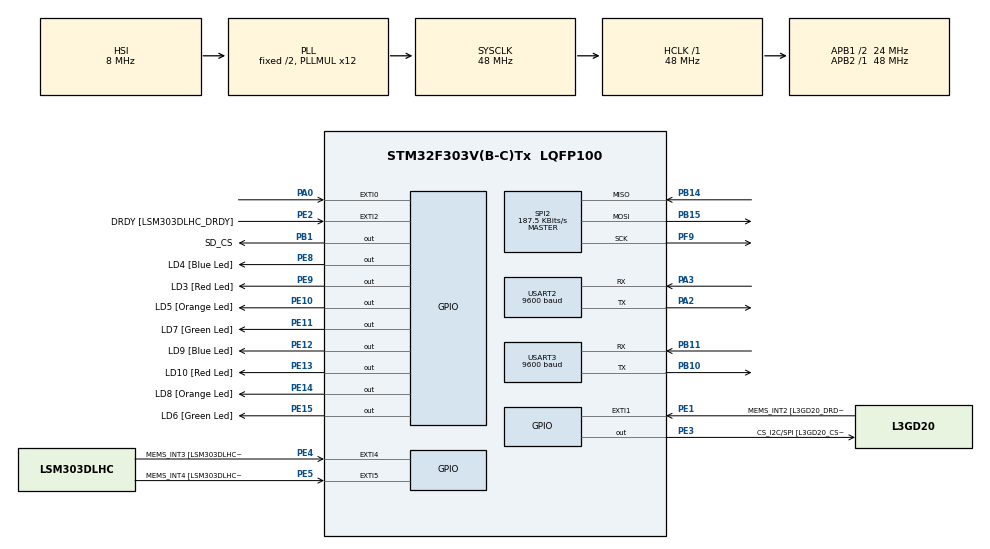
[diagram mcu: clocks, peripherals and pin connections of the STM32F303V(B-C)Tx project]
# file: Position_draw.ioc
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Mcu.Family=STM32F3
Mcu.Name=STM32F303V(B-C)Tx
Mcu.Package=LQFP100
NVIC.EXTI0_IRQn=true\:5\:0\:true\:false\:true\:true\:true\:true
NVIC.PriorityGroup=NVIC_PRIORITYGROUP_4
NVIC.TIM6_DAC_IRQn=true\:15\:0\:false\:false\:true\:false\:true\:true
NVIC.TimeBase=TIM6_DAC_IRQn
NVIC.TimeBaseIP=TIM6
NVIC.USART2_IRQn=true\:5\:0\:true\:false\:true\:true\:true\:true
NVIC.USART3_IRQn=true\:5\:0\:true\:false\:true\:true\:true\:true
PA0.GPIO_PuPd=GPIO_PULLDOWN
PA0.Signal=GPXTI0
PA11.GPIO_Label=DM
PA11.Signal=USB_DM
PA12.GPIO_Label=DP
PA12.Signal=USB_DP
PA13.GPIO_Label=SWDIO
PA13.Signal=SYS_JTMS-SWDIO
PA14.GPIO_Label=SWCLK
PA14.Signal=SYS_JTCK-SWCLK
PA2.Mode=Asynchronous
PA2.Signal=USART2_TX
PA3.Mode=Asynchronous
PA3.Signal=USART2_RX
PA5.GPIO_Label=SPI1_SCK [L3GD20_SCL/SPC]
PA5.GPIO_Mode=GPIO_MODE_AF_PP
PA5.GPIO_PuPd=GPIO_NOPULL
PA5.GPIO_Speed=GPIO_SPEED_FREQ_LOW
PA5.Signal=SPI1_SCK
PA6.GPIO_Label=SPI1_MISO [L3GD20_SA0/SDO]
PA6.GPIO_Mode=GPIO_MODE_AF_PP
PA6.GPIO_PuPd=GPIO_NOPULL
PA6.GPIO_Speed=GPIO_SPEED_FREQ_LOW
PA6.Signal=SPI1_MISO
PA7.GPIO_Label=SPI1_MISO [L3GD20_SDA/SDI/SDO]
PA7.GPIO_Mode=GPIO_MODE_AF_PP
PA7.GPIO_PuPd=GPIO_NOPULL
PA7.GPIO_Speed=GPIO_SPEED_FREQ_LOW
PA7.Signal=SPI1_MOSI
PB1.GPIO_Label=SD_CS
PB1.Signal=GPIO_Output
PB10.GPIO_PuPd=GPIO_PULLDOWN
PB10.Mode=Asynchronous
PB10.Signal=USART3_TX
PB11.GPIO_PuPd=GPIO_PULLDOWN
PB11.Mode=Asynchronous
PB11.Signal=USART3_RX
PB14.Mode=Full_Duplex_Master
PB14.Signal=SPI2_MISO
PB15.Mode=Full_Duplex_Master
PB15.Signal=SPI2_MOSI
PB3.GPIO_Label=SWO
PB3.Signal=SYS_JTDO-TRACESWO
PB6.GPIO_FM6=__NULL
PB6.GPIO_Label=I2C1_SCL [LSM303DLHC_SCL]
PB6.GPIO_Mode=GPIO_MODE_AF_OD
PB6.GPIO_PuPd=GPIO_NOPULL
PB6.GPIO_Speed=GPIO_SPEED_FREQ_LOW
PB6.Signal=I2C1_SCL
PB7.GPIO_FM7=__NULL
PB7.GPIO_Label=I2C1_SDA [LSM303DLHC_SDA]
PB7.GPIO_Mode=GPIO_MODE_AF_OD
PB7.GPIO_PuPd=GPIO_NOPULL
PB7.GPIO_Speed=GPIO_SPEED_FREQ_LOW
PB7.Signal=I2C1_SDA
PC14-OSC32_IN.GPIO_Label=OSC32_IN
PC14-OSC32_IN.Signal=RCC_OSC32_IN
PC15-OSC32_OUT.GPIO_Label=OSC32_OUT
PC15-OSC32_OUT.Signal=RCC_OSC32_OUT
PE1.GPIO_Label=MEMS_INT2 [L3GD20_DRDY/INT2]
PE1.GPIO_ModeDefaultEXTI=GPIO_MODE_EVT_RISING
PE1.GPIO_PuPd=GPIO_NOPULL
PE1.Signal=GPXTI1
PE10.GPIO_Label=LD5 [Orange Led]
PE10.GPIO_ModeDefaultOutputPP=GPIO_MODE_OUTPUT_PP
PE10.GPIO_PuPd=GPIO_NOPULL
PE10.GPIO_Speed=GPIO_SPEED_FREQ_LOW
PE10.Signal=GPIO_Output
PE11.GPIO_Label=LD7 [Green Led]
PE11.GPIO_ModeDefaultOutputPP=GPIO_MODE_OUTPUT_PP
PE11.GPIO_PuPd=GPIO_NOPULL
PE11.GPIO_Speed=GPIO_SPEED_FREQ_LOW
PE11.Signal=GPIO_Output
PE12.GPIO_Label=LD9 [Blue Led]
PE12.GPIO_ModeDefaultOutputPP=GPIO_MODE_OUTPUT_PP
PE12.GPIO_PuPd=GPIO_NOPULL
PE12.GPIO_Speed=GPIO_SPEED_FREQ_LOW
PE12.Signal=GPIO_Output
PE13.GPIO_Label=LD10 [Red Led]
PE13.GPIO_ModeDefaultOutputPP=GPIO_MODE_OUTPUT_PP
PE13.GPIO_PuPd=GPIO_NOPULL
PE13.GPIO_Speed=GPIO_SPEED_FREQ_LOW
PE13.Signal=GPIO_Output
PE14.GPIO_Label=LD8 [Orange Led]
PE14.GPIO_ModeDefaultOutputPP=GPIO_MODE_OUTPUT_PP
PE14.GPIO_PuPd=GPIO_NOPULL
PE14.GPIO_Speed=GPIO_SPEED_FREQ_LOW
PE14.Signal=GPIO_Output
PE15.GPIO_Label=LD6 [Green Led]
PE15.GPIO_ModeDefaultOutputPP=GPIO_MODE_OUTPUT_PP
PE15.GPIO_PuPd=GPIO_NOPULL
PE15.GPIO_Speed=GPIO_SPEED_FREQ_LOW
PE15.Signal=GPIO_Output
PE2.GPIO_Label=DRDY [LSM303DLHC_DRDY]
PE2.GPIO_ModeDefaultEXTI=GPIO_MODE_EVT_RISING
PE2.GPIO_PuPd=GPIO_NOPULL
PE2.Signal=GPXTI2
PE3.GPIO_Label=CS_I2C/SPI [L3GD20_CS_I2C/SPI]
PE3.GPIO_ModeDefaultOutputPP=GPIO_MODE_OUTPUT_PP
PE3.GPIO_PuPd=GPIO_NOPULL
PE3.GPIO_Speed=GPIO_SPEED_FREQ_LOW
PE3.Signal=GPIO_Output
PE4.GPIO_Label=MEMS_INT3 [LSM303DLHC_INT1]
PE4.GPIO_ModeDefaultEXTI=GPIO_MODE_EVT_RISING
PE4.GPIO_PuPd=GPIO_NOPULL
PE4.Signal=GPXTI4
PE5.GPIO_Label=MEMS_INT4 [LSM303DLHC_INT2]
PE5.GPIO_ModeDefaultEXTI=GPIO_MODE_EVT_RISING
PE5.GPIO_PuPd=GPIO_NOPULL
PE5.Signal=GPXTI5
PE8.GPIO_Label=LD4 [Blue Led]
PE8.GPIO_ModeDefaultOutputPP=GPIO_MODE_OUTPUT_PP
PE8.GPIO_PuPd=GPIO_NOPULL
PE8.GPIO_Speed=GPIO_SPEED_FREQ_LOW
PE8.Signal=GPIO_Output
PE9.GPIO_Label=LD3 [Red Led]
PE9.GPIO_ModeDefaultOutputPP=GPIO_MODE_OUTPUT_PP
PE9.GPIO_PuPd=GPIO_NOPULL
PE9.GPIO_Speed=GPIO_SPEED_FREQ_LOW
PE9.Signal=GPIO_Output
PF0-OSC_IN.GPIO_Label=OSC_IN
PF0-OSC_IN.Signal=RCC_OSC_IN
PF1-OSC_OUT.GPIO_Label=OSC_OUT
PF1-OSC_OUT.Signal=RCC_OSC_OUT
PF9.Mode=Full_Duplex_Master
PF9.Signal=SPI2_SCK
ProjectManager.HeapSize=0x200
ProjectManager.StackSize=0x400
ProjectManager.TargetToolchain=STM32CubeIDE
RCC.AHBFreq_Value=48000000
RCC.APB1CLKDivider=RCC_HCLK_DIV2
RCC.APB1Freq_Value=24000000
RCC.APB1TimFreq_Value=48000000
RCC.APB2Freq_Value=48000000
RCC.APB2TimFreq_Value=48000000
RCC.CortexFreq_Value=48000000
RCC.HCLKFreq_Value=48000000
RCC.HSE_VALUE=8000000
RCC.HSI_VALUE=8000000
RCC.LSE_VALUE=32768
RCC.PLLMUL=RCC_PLL_MUL12
RCC.SYSCLKFreq_VALUE=48000000
RCC.SYSCLKSourceVirtual=RCC_SYSCLKSOURCE_PLLCLK
RCC.USBFreq_Value=48000000
SPI2.BaudRatePrescaler=SPI_BAUDRATEPRESCALER_128
SPI2.CalculateBaudRate=187.5 KBits/s
SPI2.DataSize=SPI_DATASIZE_8BIT
SPI2.Direction=SPI_DIRECTION_2LINES
SPI2.Mode=SPI_MODE_MASTER
SPI2.VirtualType=VM_MASTER
USART2.BaudRate=9600
USART2.VirtualMode-Asynchronous=VM_ASYNC
USART3.BaudRate=9600
USART3.VirtualMode-Asynchronous=VM_ASYNC
VP_FATFS_VS_Generic.Mode=User_defined
VP_SYS_VS_tim6.Mode=TIM6
board=STM32F3DISCOVERY

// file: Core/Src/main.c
/* USER CODE BEGIN Header */
/**
  ******************************************************************************
  * @file           : main.c
  * @brief          : Main program body
  ******************************************************************************
  * @attention
  *
  * Copyright (c) 2024 STMicroelectronics.
  * All rights reserved.
  *
  * This software is licensed under terms that can be found in the LICENSE file
  * in the root directory of this software component.
  * If no LICENSE file comes with this software, it is provided AS-IS.
  *
  ******************************************************************************
  */
/* USER CODE END Header */
#include "main.h"
#include "fatfs.h"

/* USER CODE BEGIN PD */
//#define USE_SEGGER

//#define UART23_bridge

#ifdef USE_SEGGER
	#define DWT_CTRL		(*(volatile uint32_t *) 0xE0001000)
#endif
/* USER CODE END PD */

SPI_HandleTypeDef hspi2;

UART_HandleTypeDef huart2;
UART_HandleTypeDef huart3;

/* USER CODE BEGIN PV */
TaskHandle_t SD_card_task;
TaskHandle_t GPS_MSG_check_task;
TaskHandle_t USER_print_task;

//Buffer used to gather GPS data
uint8_t UART_2_buffer [20];

//Buffer used to print USER data on UART3
uint8_t USER_print_buffer [10];

uint8_t rec_buff[500];

volatile GPS_Position_Data_t position;

xSemaphoreHandle xUART_3;
xSemaphoreHandle xUART_2;

xSemaphoreHandle xSD_data;

char send_text [200];
void vApplicationStackOverflowHook( TaskHandle_t xTask, char * pcTaskName );

/* USER CODE END PV */

void SystemClock_Config(void);
static void MX_GPIO_Init(void);
static void MX_SPI2_Init(void);
static void MX_USART2_UART_Init(void);
static void MX_USART3_UART_Init(void);
/* USER CODE BEGIN PFP */
void SD_card_handler (void *pvParameters);
void GPS_MSG_check_handler (void *pvParameters);
void USER_print_handler(void * pvParameters);

/* USER CODE END PFP */

/* USER CODE BEGIN 0 */
void myprintf(const char *fmt, ...) {
  static char buffer[500];
  va_list args;
  va_start(args, fmt);
  vsnprintf(buffer, sizeof(buffer), fmt, args);
  va_end(args);

  int len = strlen(buffer);
  HAL_UART_Transmit(&huart3, (uint8_t*)buffer, len, -1);

  //while UART3 TC not set (transfer not completed)
  uint32_t* wsk = (uint32_t*)0x4000481cUL;
  while(!(*wsk & (1<<6)));

}
/* USER CODE END 0 */

int main(void)
{
  /* USER CODE BEGIN 1 */
	BaseType_t Status;
  /* USER CODE END 1 */

  /* MCU Configuration--------------------------------------------------------*/

  /* Reset of all peripherals, Initializes the Flash interface and the Systick. */
  HAL_Init();

  /* USER CODE BEGIN Init */
  Status = xTaskCreate(SD_card_handler , "SD_CARD_task" , 600, "SD_card_proc", 4, &SD_card_task);
  configASSERT(Status == pdPASS);

  Status = xTaskCreate(GPS_MSG_check_handler , "GPS_MSG_check_task" , 500, "GPS MSG checking", 1, &GPS_MSG_check_task);
  configASSERT(Status == pdPASS);

  Status = xTaskCreate(USER_print_handler , "USER print task" , 500, "USER printing", 1, &USER_print_task);
  configASSERT(Status == pdPASS);

  xUART_3 = xSemaphoreCreateMutex();
  configASSERT(xUART_3 != NULL);

  xUART_2 = xSemaphoreCreateMutex();
  configASSERT(xUART_2 != NULL);

  xSD_data = xSemaphoreCreateBinary();
  configASSERT(xSD_data != NULL);
  /* USER CODE END Init */

  /* Configure the system clock */
  SystemClock_Config();

  /* USER CODE BEGIN SysInit */
#if defined(USE_SEGGER)
		  DWT_CTRL |= (1 << 0);

		  SEGGER_SYSVIEW_Conf();

		  SEGGER_SYSVIEW_Start();
#endif
  /* USER CODE END SysInit */

  /* Initialize all configured peripherals */
  MX_GPIO_Init();
  MX_SPI2_Init();
  MX_USART2_UART_Init();
  MX_USART3_UART_Init();
  MX_FATFS_Init();
  /* USER CODE BEGIN 2 */

  HAL_UART_Receive_IT(&huart2, UART_2_buffer, 1);
  HAL_UART_Receive_IT(&huart3, USER_print_buffer, 1);

  // turn ON working LED and send hello text
  HAL_GPIO_WritePin(GPIOE, GPIO_PIN_8, ENABLE);
  myprintf("\r\n########################################################\n"
		  	  "#                                                      #\n"
		  	  "# Program has been started...                          #\n"
		  	  "# The logs will be automatically collected             #\n"
		  	  "#                                                      #\n"
		  	  "# Press the USER button to unmount the SD CARD!!!      #\n"
		  	  "#                                                      #\n"
		  	  "########################################################\n");

  vTaskStartScheduler();
  /* USER CODE END 2 */

  /* Infinite loop */
  while (1)
  {

  }
}

void SystemClock_Config(void)
{
  RCC_OscInitTypeDef RCC_OscInitStruct = {0};
  RCC_ClkInitTypeDef RCC_ClkInitStruct = {0};
  RCC_PeriphCLKInitTypeDef PeriphClkInit = {0};

  /** Initializes the RCC Oscillators according to the specified parameters
  * in the RCC_OscInitTypeDef structure.
  */
  RCC_OscInitStruct.OscillatorType = RCC_OSCILLATORTYPE_HSI;
  RCC_OscInitStruct.HSIState = RCC_HSI_ON;
  RCC_OscInitStruct.HSICalibrationValue = RCC_HSICALIBRATION_DEFAULT;
  RCC_OscInitStruct.PLL.PLLState = RCC_PLL_ON;
  RCC_OscInitStruct.PLL.PLLSource = RCC_PLLSOURCE_HSI;
  RCC_OscInitStruct.PLL.PLLMUL = RCC_PLL_MUL12;
  if (HAL_RCC_OscConfig(&RCC_OscInitStruct) != HAL_OK)
  {
    Error_Handler();
  }

  /** Initializes the CPU, AHB and APB buses clocks
  */
  RCC_ClkInitStruct.ClockType = RCC_CLOCKTYPE_HCLK|RCC_CLOCKTYPE_SYSCLK
                              |RCC_CLOCKTYPE_PCLK1|RCC_CLOCKTYPE_PCLK2;
  RCC_ClkInitStruct.SYSCLKSource = RCC_SYSCLKSOURCE_PLLCLK;
  RCC_ClkInitStruct.AHBCLKDivider = RCC_SYSCLK_DIV1;
  RCC_ClkInitStruct.APB1CLKDivider = RCC_HCLK_DIV2;
  RCC_ClkInitStruct.APB2CLKDivider = RCC_HCLK_DIV1;

  if (HAL_RCC_ClockConfig(&RCC_ClkInitStruct, FLASH_LATENCY_1) != HAL_OK)
  {
    Error_Handler();
  }
  PeriphClkInit.PeriphClockSelection = RCC_PERIPHCLK_USART2|RCC_PERIPHCLK_USART3;
  PeriphClkInit.Usart2ClockSelection = RCC_USART2CLKSOURCE_PCLK1;
  PeriphClkInit.Usart3ClockSelection = RCC_USART3CLKSOURCE_PCLK1;
  if (HAL_RCCEx_PeriphCLKConfig(&PeriphClkInit) != HAL_OK)
  {
    Error_Handler();
  }
}

static void MX_SPI2_Init(void)
{

  /* SPI2 parameter configuration*/
  hspi2.Instance = SPI2;
  hspi2.Init.Mode = SPI_MODE_MASTER;
  hspi2.Init.Direction = SPI_DIRECTION_2LINES;
  hspi2.Init.DataSize = SPI_DATASIZE_8BIT;
  hspi2.Init.CLKPolarity = SPI_POLARITY_LOW;
  hspi2.Init.CLKPhase = SPI_PHASE_1EDGE;
  hspi2.Init.NSS = SPI_NSS_SOFT;
  hspi2.Init.BaudRatePrescaler = SPI_BAUDRATEPRESCALER_128;
  hspi2.Init.FirstBit = SPI_FIRSTBIT_MSB;
  hspi2.Init.TIMode = SPI_TIMODE_DISABLE;
  hspi2.Init.CRCCalculation = SPI_CRCCALCULATION_DISABLE;
  hspi2.Init.CRCPolynomial = 7;
  hspi2.Init.CRCLength = SPI_CRC_LENGTH_DATASIZE;
  hspi2.Init.NSSPMode = SPI_NSS_PULSE_ENABLE;
  if (HAL_SPI_Init(&hspi2) != HAL_OK)
  {
    Error_Handler();
  }

}

static void MX_USART2_UART_Init(void)
{

  huart2.Instance = USART2;
  huart2.Init.BaudRate = 9600;
  huart2.Init.WordLength = UART_WORDLENGTH_8B;
  huart2.Init.StopBits = UART_STOPBITS_1;
  huart2.Init.Parity = UART_PARITY_NONE;
  huart2.Init.Mode = UART_MODE_TX_RX;
  huart2.Init.HwFlowCtl = UART_HWCONTROL_NONE;
  huart2.Init.OverSampling = UART_OVERSAMPLING_16;
  huart2.Init.OneBitSampling = UART_ONE_BIT_SAMPLE_DISABLE;
  huart2.AdvancedInit.AdvFeatureInit = UART_ADVFEATURE_NO_INIT;
  if (HAL_UART_Init(&huart2) != HAL_OK)
  {
    Error_Handler();
  }

}

static void MX_USART3_UART_Init(void)
{

  huart3.Instance = USART3;
  huart3.Init.BaudRate = 9600;
  huart3.Init.WordLength = UART_WORDLENGTH_8B;
  huart3.Init.StopBits = UART_STOPBITS_1;
  huart3.Init.Parity = UART_PARITY_NONE;
  huart3.Init.Mode = UART_MODE_TX_RX;
  huart3.Init.HwFlowCtl = UART_HWCONTROL_NONE;
  huart3.Init.OverSampling = UART_OVERSAMPLING_16;
  huart3.Init.OneBitSampling = UART_ONE_BIT_SAMPLE_DISABLE;
  huart3.AdvancedInit.AdvFeatureInit = UART_ADVFEATURE_NO_INIT;
  if (HAL_UART_Init(&huart3) != HAL_OK)
  {
    Error_Handler();
  }

}

static void MX_GPIO_Init(void)
{
  GPIO_InitTypeDef GPIO_InitStruct = {0};

  /* GPIO Ports Clock Enable */
  __HAL_RCC_GPIOE_CLK_ENABLE();
  __HAL_RCC_GPIOC_CLK_ENABLE();
  __HAL_RCC_GPIOF_CLK_ENABLE();
  __HAL_RCC_GPIOA_CLK_ENABLE();
  __HAL_RCC_GPIOB_CLK_ENABLE();

  /*Configure GPIO pin Output Level */
  HAL_GPIO_WritePin(GPIOE, CS_I2C_SPI_Pin|LD4_Pin|LD3_Pin|LD5_Pin
                          |LD7_Pin|LD9_Pin|LD10_Pin|LD8_Pin
                          |LD6_Pin, GPIO_PIN_RESET);

  /*Configure GPIO pin Output Level */
  HAL_GPIO_WritePin(SD_CS_GPIO_Port, SD_CS_Pin, GPIO_PIN_RESET);

  /*Configure GPIO pins : DRDY_Pin MEMS_INT3_Pin MEMS_INT4_Pin MEMS_INT2_Pin */
  GPIO_InitStruct.Pin = DRDY_Pin|MEMS_INT3_Pin|MEMS_INT4_Pin|MEMS_INT2_Pin;
  GPIO_InitStruct.Mode = GPIO_MODE_EVT_RISING;
  GPIO_InitStruct.Pull = GPIO_NOPULL;
  HAL_GPIO_Init(GPIOE, &GPIO_InitStruct);

  /*Configure GPIO pins : CS_I2C_SPI_Pin LD4_Pin LD3_Pin LD5_Pin
                           LD7_Pin LD9_Pin LD10_Pin LD8_Pin
                           LD6_Pin */
  GPIO_InitStruct.Pin = CS_I2C_SPI_Pin|LD4_Pin|LD3_Pin|LD5_Pin
                          |LD7_Pin|LD9_Pin|LD10_Pin|LD8_Pin
                          |LD6_Pin;
  GPIO_InitStruct.Mode = GPIO_MODE_OUTPUT_PP;
  GPIO_InitStruct.Pull = GPIO_NOPULL;
  GPIO_InitStruct.Speed = GPIO_SPEED_FREQ_LOW;
  HAL_GPIO_Init(GPIOE, &GPIO_InitStruct);

  /*Configure GPIO pin : PA0 */
  GPIO_InitStruct.Pin = GPIO_PIN_0;
  GPIO_InitStruct.Mode = GPIO_MODE_IT_RISING;
  GPIO_InitStruct.Pull = GPIO_PULLDOWN;
  HAL_GPIO_Init(GPIOA, &GPIO_InitStruct);

  /*Configure GPIO pins : SPI1_SCK_Pin SPI1_MISO_Pin SPI1_MISOA7_Pin */
  GPIO_InitStruct.Pin = SPI1_SCK_Pin|SPI1_MISO_Pin|SPI1_MISOA7_Pin;
  GPIO_InitStruct.Mode = GPIO_MODE_AF_PP;
  GPIO_InitStruct.Pull = GPIO_NOPULL;
  GPIO_InitStruct.Speed = GPIO_SPEED_FREQ_LOW;
  GPIO_InitStruct.Alternate = GPIO_AF5_SPI1;
  HAL_GPIO_Init(GPIOA, &GPIO_InitStruct);

  /*Configure GPIO pin : SD_CS_Pin */
  GPIO_InitStruct.Pin = SD_CS_Pin;
  GPIO_InitStruct.Mode = GPIO_MODE_OUTPUT_PP;
  GPIO_InitStruct.Pull = GPIO_NOPULL;
  GPIO_InitStruct.Speed = GPIO_SPEED_FREQ_LOW;
  HAL_GPIO_Init(SD_CS_GPIO_Port, &GPIO_InitStruct);

  /*Configure GPIO pins : DM_Pin DP_Pin */
  GPIO_InitStruct.Pin = DM_Pin|DP_Pin;
  GPIO_InitStruct.Mode = GPIO_MODE_AF_PP;
  GPIO_InitStruct.Pull = GPIO_NOPULL;
  GPIO_InitStruct.Speed = GPIO_SPEED_FREQ_HIGH;
  GPIO_InitStruct.Alternate = GPIO_AF14_USB;
  HAL_GPIO_Init(GPIOA, &GPIO_InitStruct);

  /*Configure GPIO pins : I2C1_SCL_Pin I2C1_SDA_Pin */
  GPIO_InitStruct.Pin = I2C1_SCL_Pin|I2C1_SDA_Pin;
  GPIO_InitStruct.Mode = GPIO_MODE_AF_OD;
  GPIO_InitStruct.Pull = GPIO_NOPULL;
  GPIO_InitStruct.Speed = GPIO_SPEED_FREQ_LOW;
  GPIO_InitStruct.Alternate = GPIO_AF4_I2C1;
  HAL_GPIO_Init(GPIOB, &GPIO_InitStruct);

  /* EXTI interrupt init*/
  HAL_NVIC_SetPriority(EXTI0_IRQn, 5, 0);
  HAL_NVIC_EnableIRQ(EXTI0_IRQn);

}

/* USER CODE BEGIN 4 */

void SD_card_handler (void *pvParameters)
{
	/*
	 * Private variables
	 */

	//received position calculated
	GPS_Position_Data_t * position_addr = 0;

	//address received throught notification
	uint32_t rec_addr = 0;

	//buffer to write the data to SD CARD
	BYTE writebuff[100];		//TODO: BUFFER SIZE WILL BE ANALYZED IN THE FUTURE

	//SDcard mounting status
	uint8_t SD_mount_status = 0;

	//variables for FatFs
	FATFS FatFs; 				//Fatfs handle
	FIL fil; 					//File handle
	FRESULT fres; 				//Result after operations

	/*
	 * Code
	 */

	xSemaphoreTake(xUART_3,0);
	myprintf("\rSD card INITIALIZE \r");
	vTaskDelay(pdMS_TO_TICKS(1000)); //a short delay is important to let the SD card settle
	xSemaphoreGive(xUART_3);

	portENTER_CRITICAL();
	//Open the file system
	SD_mount_status = f_mount(&FatFs, "", 1); //1=mount now

	if (SD_mount_status != FR_OK) {
		myprintf("f_mount error (%i)\r\n", SD_mount_status);
	}else
	{
		//Try to create "LOG.txt" file
		fres = f_open(&fil, "position.log", FA_WRITE | FA_OPEN_ALWAYS | FA_CREATE_ALWAYS);

		if(fres == FR_OK) {
			myprintf("Logfile was created\r\n");

			//SD MOUNT LED INDICATORS (GREEN LEDS)
			HAL_GPIO_WritePin(GPIOE, GPIO_PIN_11, ENABLE);
			HAL_GPIO_WritePin(GPIOE, GPIO_PIN_15, ENABLE);
		} else {
			myprintf("f_open error (%i)\r\n", fres);
		}
		//close file
		f_close(&fil);

	}
	portEXIT_CRITICAL();

	while(1)
	{
		if(xTaskNotifyWait(0, 0, &rec_addr, portMAX_DELAY) == pdPASS)
		{
			position_addr = (GPS_Position_Data_t *)rec_addr;

			if(SD_mount_status == FR_OK)
			{
				//portENTER_CRITICAL();			<<<<<<<<<<<< THIS CRITICAL SECTION CAUSING THE CRASH

				fres = f_open(&fil, "position.log", FA_WRITE | FA_OPEN_ALWAYS );
				if (fres == FR_OK)
				{
					//APPEND
					f_lseek(&fil, fil.fsize);

					sprintf((char*)writebuff, "%d.%ld,%d.%ld,%02d:%02d:%02d\n", position_addr->Latitude_deg, \
						position_addr->Latitude_minINdegrees, position_addr->Longtitude_deg, \
						position_addr->Longtitude_minINdegrees, position_addr->Time.hours, \
						position_addr->Time.minutes, position_addr->Time.seconds);

					 uint8_t length = strlen((char*)writebuff);
					 UINT bytesWrote;

					 fres = f_write(&fil, writebuff, length, &bytesWrote);
					 if(fres == FR_OK) {
						 if(xSemaphoreTake(xUART_3,0) == pdPASS)
						 {
							myprintf("Logfile updated\r\n");
							xSemaphoreGive(xUART_3);
						 }

					 } else {
						 if(xSemaphoreTake(xUART_3,0) == pdPASS)
						 {
								myprintf("f_write error (%i)\r\n");
								xSemaphoreGive(xUART_3);
						 }
					 }
					 f_close(&fil);
				} else {
					 if(xSemaphoreTake(xUART_3,0) == pdPASS)
					 {
						 myprintf("f_open error (%i)\r\n", fres);
						xSemaphoreGive(xUART_3);
					 }
				 }
				//flush the buffor
				for(int i = 0; i < 30; i++)
				{
					writebuff[i] = '\0';
				}

				// portEXIT_CRITICAL();			<<<<<<<<<<<< THIS CRITICAL SECTION CAUSING THE CRASH
			}
			//DATA MAY BE FREED
			xSemaphoreGive(xSD_data);
		}
	}
}

void GPS_MSG_check_handler (void *pvParameters)
{
	/*
	 * Private variables
	 */

	uint8_t buffor_size = 0;

	/*
	 * Code
	 */

	while(1)
	{
		//wait for notify from UART receiver
		xTaskNotifyWait(0, 0, (uint32_t *)&buffor_size, portMAX_DELAY);

		//TODO: this is not working, IRQ's are working
		portDISABLE_INTERRUPTS();

		//checks if pending message is position info
		position = GPS_get_position(rec_buff, buffor_size);
		if(position.Latitude_deg != 0)
		{
			xTaskNotify(USER_print_task, (uint32_t)&position, eSetValueWithOverwrite);

			//wait until data will be freed
			xSemaphoreTake(xSD_data, portMAX_DELAY);
		}
		//flush the buffer
		for(int i = 0; i < buffor_size; i++)
		{
			rec_buff[i] = '\0';
		}
		portENABLE_INTERRUPTS();
	}
}

void USER_print_handler (void *pvParameters)
{
	GPS_Position_Data_t * position_addr = 0;
	uint32_t rec_addr = 0;

	char msg [300];

	while(1)
	{
		if(xSemaphoreTake(xUART_3,0)==pdPASS)
		{
			//notify the user that program is running
			myprintf("RUNNING\n");
			xSemaphoreGive(xUART_3);
		}

		if(xTaskNotifyWait(0, 0, (uint32_t*)&rec_addr, pdMS_TO_TICKS(1000)) == pdPASS)
		{
			position_addr = (GPS_Position_Data_t *)rec_addr;

			//notify the user that data has been received
			sprintf(msg,"Position: %d.%ld %d.%ld", position_addr->Latitude_deg, position_addr->Latitude_minINdegrees, \
					position_addr->Longtitude_deg, position_addr->Longtitude_minINdegrees);
			if(xSemaphoreTake(xUART_3,0)==pdPASS)
			{
				myprintf(msg);
				xSemaphoreGive(xUART_3);
			}

			#if defined(TIME_ZONE)
				sprintf(msg," TIME: %02d:%02d:%02d\n", (position_addr->Time.hours + TIME_ZONE), position_addr->Time.minutes, position_addr->Time.seconds);
			#else
				sprintf(msg," TIME UTC: %02d:%02d:%02d\n", (position_addr->Time.hours), position_addr->Time.minutes, position_addr->Time.seconds);
			#endif
				if(xSemaphoreTake(xUART_3,0)==pdPASS)
				{
					myprintf(msg);
					xSemaphoreGive(xUART_3);
				}

			//notify SD_card task to save the data and toggle the LED
			xTaskNotify(SD_card_task,rec_addr,eSetValueWithOverwrite);
			HAL_GPIO_TogglePin(GPIOE, GPIO_PIN_9);
		}
	}
}

void HAL_UART_RxCpltCallback(UART_HandleTypeDef *huart)
{

#if defined(USE_SEGGER)
	SEGGER_SYSVIEW_RecordEnterISR();
#endif

	static uint8_t rec_status = 0;

	if(huart == &huart3)
	{

		HAL_GPIO_TogglePin(GPIOE, GPIO_PIN_14);

#if defined(UART23_bridge)
		if(xSemaphoreTakeFromISR(xUART_2, 0) == pdPASS)
		{
			//SEND FROM UART2 => UART3
			HAL_UART_Transmit(&huart2, USER_print_buffer, 1, 0); // 0 delay - very important!!
			xSemaphoreGiveFromISR(xUART_2, 0);
		}
#endif
		HAL_UART_Receive_IT(&huart3, USER_print_buffer, 1);

	}
	if(huart == &huart2)
	{
		HAL_GPIO_TogglePin(GPIOE, GPIO_PIN_13);

#if defined(UART23_bridge)
		if(xSemaphoreTakeFromISR(xUART_3, 0) == pdPASS){
			//SEND FROM UART2 => UART3
			HAL_UART_Transmit(&huart3, UART_2_buffer, 1, 0); // 0 delay - very important!!
			xSemaphoreGiveFromISR(xUART_3, 0);
		}
#endif
		//if message will be analyzed
		if(rec_status)
		{
			rec_buff[rec_status-1] = UART_2_buffer[0];
			UART_2_buffer[0] = '\0';
			if(rec_buff[rec_status-1] == '\n')
			{
				//notify the MSG checking task
				xTaskNotifyFromISR(GPS_MSG_check_task, (rec_status-1), eSetValueWithOverwrite, 0);
				rec_status = 0;
			}else{
				rec_status++;
			}

		}else
		{
			//Start of the phrase, start recording
			if(UART_2_buffer[0] == '$'){
			rec_status = 1;
			}
		}
		HAL_UART_Receive_IT(&huart2, UART_2_buffer, 1);

	}

#if defined(USE_SEGGER)
	SEGGER_SYSVIEW_RecordExitISR();
#endif

}

void HAL_GPIO_EXTI_Callback(uint16_t GPIO_Pin)
{
	if(GPIO_Pin == GPIO_PIN_0)
	{
		//SUSPEND THE SD CARD TASK and unmount the SD card
		f_mount(NULL, "", 0);

		//TURN OFF SD CARD LEDS
		HAL_GPIO_WritePin(GPIOE, GPIO_PIN_11, DISABLE);
		HAL_GPIO_WritePin(GPIOE, GPIO_PIN_15, DISABLE);

		//TURN OFF STATUS LED
		HAL_GPIO_WritePin(GPIOE, GPIO_PIN_8, DISABLE);

		myprintf("Logging has been stopped, SDCARD can be removed now...\n");

		vTaskSuspend(SD_card_task);
	}
}

void vApplicationStackOverflowHook( TaskHandle_t xTask, char * pcTaskName )
{
	myprintf("Stack overflowed by: %s \r\n", pcTaskName);
}

/* USER CODE END 4 */

void HAL_TIM_PeriodElapsedCallback(TIM_HandleTypeDef *htim)
{
  if (htim->Instance == TIM6) {
    HAL_IncTick();
  }
}

void Error_Handler(void)
{
  __disable_irq();
  while (1)
  {
  }
}
